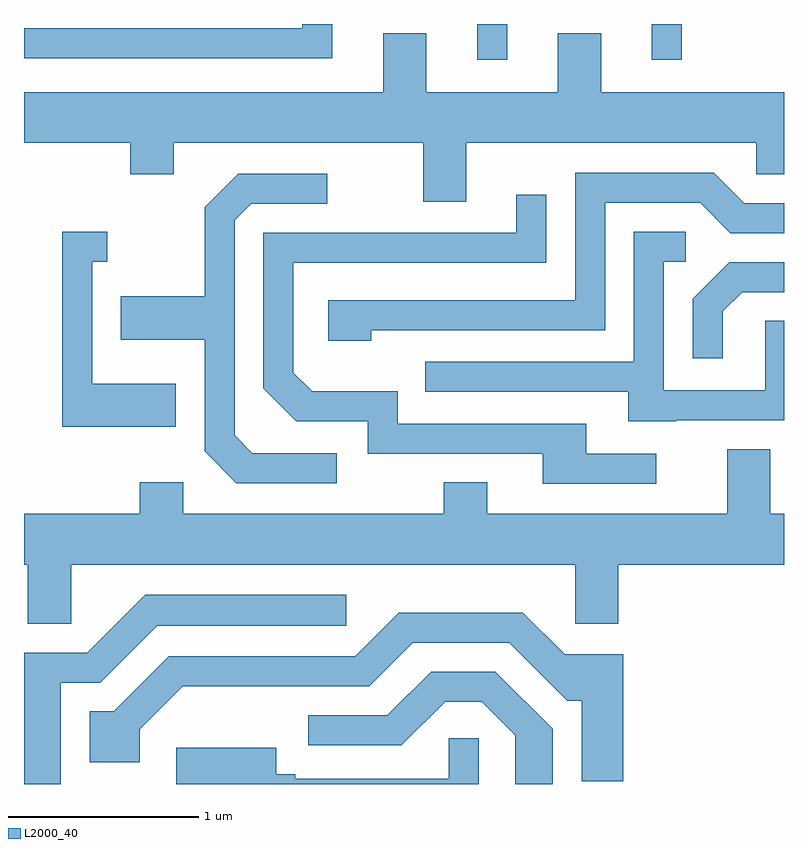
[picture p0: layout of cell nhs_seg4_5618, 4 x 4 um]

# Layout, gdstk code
import gdstk
lib = gdstk.Library(unit=1e-6, precision=1e-09)
def R(c, l, rs):  # rectangles x0, y0, x1, y1
    for r in rs: c.add(gdstk.rectangle(r[:2], r[2:], *l))
def P(c, l, *ps):  # polygons
    for p in ps: c.add(gdstk.Polygon(p, *l))
L2000_40 = (2000, 40)

nhs_seg4_5618 = lib.new_cell('nhs_seg4_5618')
R(nhs_seg4_5618, L2000_40, [(351.996,1341.793,352.154,1341.982), (352.916,1341.793,353.074,1341.982)])
P(nhs_seg4_5618, L2000_40, [(351.234,1341.982),(351.076,1341.982),(351.076,1341.959),(349.611,1341.959),(349.611,1341.801),(351.234,1341.801)],
  [(351.939,1341.356),(353.466,1341.356),(353.466,1341.191),(353.611,1341.191),(353.611,1341.624),(352.649,1341.624),(352.649,1341.934),(352.421,1341.934),(352.421,1341.624),(351.729,1341.624),(351.729,1341.934),(351.501,1341.934),(351.501,1341.624),(349.611,1341.624),(349.611,1341.356),(350.171,1341.356),(350.171,1341.191),(350.399,1341.191),(350.399,1341.356),(351.711,1341.356),(351.711,1341.046),(351.939,1341.046)],
  [(351.439,1340.371),(352.669,1340.371),(352.669,1341.041),(353.169,1341.041),(353.329,1340.881),(353.611,1340.881),(353.611,1341.039),(353.402,1341.039),(353.242,1341.199),(352.511,1341.199),(352.511,1340.529),(351.211,1340.529),(351.211,1340.316),(351.439,1340.316)],
  [(351.258,1339.724),(350.812,1339.724),(350.719,1339.817),(350.719,1340.949),(350.807,1341.036),(351.208,1341.036),(351.208,1341.194),(350.739,1341.194),(350.561,1341.017),(350.561,1340.549),(350.121,1340.549),(350.121,1340.321),(350.561,1340.321),(350.561,1339.734),(350.729,1339.566),(351.258,1339.566)],
  [(352.938,1339.719),(352.569,1339.719),(352.569,1339.879),(351.579,1339.879),(351.579,1340.049),(351.127,1340.049),(351.029,1340.147),(351.029,1340.726),(352.359,1340.726),(352.359,1341.083),(352.201,1341.083),(352.201,1340.884),(350.871,1340.884),(350.871,1340.064),(351.044,1339.891),(351.421,1339.891),(351.421,1339.721),(352.341,1339.721),(352.341,1339.561),(352.938,1339.561)],
  [(353.045,1339.896),(353.611,1339.896),(353.611,1340.419),(353.511,1340.419),(353.511,1340.054),(352.979,1340.054),(352.979,1340.731),(353.093,1340.731),(353.093,1340.889),(352.821,1340.889),(352.821,1340.204),(351.723,1340.204),(351.723,1340.046),(352.791,1340.046),(352.791,1339.891),(353.045,1339.891)],
  [(350.409,1340.089),(349.969,1340.089),(349.969,1340.731),(350.048,1340.731),(350.048,1340.889),(349.811,1340.889),(349.811,1339.861),(350.409,1339.861)],
  [(353.289,1340.469),(353.392,1340.571),(353.611,1340.571),(353.611,1340.729),(353.324,1340.729),(353.131,1340.537),(353.131,1340.223),(353.289,1340.223)],
  [(349.859,1339.136),(352.511,1339.136),(352.511,1338.826),(352.739,1338.826),(352.739,1339.136),(353.611,1339.136),(353.611,1339.404),(353.539,1339.404),(353.539,1339.744),(353.311,1339.744),(353.311,1339.404),(352.049,1339.404),(352.049,1339.569),(351.821,1339.569),(351.821,1339.404),(350.449,1339.404),(350.449,1339.569),(350.221,1339.569),(350.221,1339.404),(349.611,1339.404),(349.611,1339.136),(349.631,1339.136),(349.631,1338.826),(349.859,1338.826)],
  [(349.804,1338.516),(350.012,1338.516),(350.312,1338.816),(351.308,1338.816),(351.308,1338.979),(350.249,1338.979),(349.944,1338.674),(349.611,1338.674),(349.611,1337.982),(349.804,1337.982)],
  [(352.764,1338.664),(352.457,1338.664),(352.237,1338.884),(351.584,1338.884),(351.354,1338.654),(350.374,1338.654),(350.084,1338.364),(349.956,1338.364),(349.956,1338.096),(350.219,1338.096),(350.219,1338.269),(350.447,1338.496),(351.427,1338.496),(351.657,1338.726),(352.164,1338.726),(352.469,1338.421),(352.546,1338.421),(352.546,1337.996),(352.764,1337.996)],
  [(352.394,1338.272),(352.092,1338.574),(351.754,1338.574),(351.524,1338.344),(351.108,1338.344),(351.108,1338.186),(351.597,1338.186),(351.827,1338.416),(352.019,1338.416),(352.196,1338.239),(352.196,1337.982),(352.394,1337.982)],
  [(352.004,1338.223),(351.846,1338.223),(351.846,1338.009),(351.039,1338.009),(351.039,1338.034),(350.939,1338.034),(350.939,1338.174),(350.411,1338.174),(350.411,1337.982),(352.004,1337.982)])

lib.write_gds('nhs_seg4_5618.gds')
